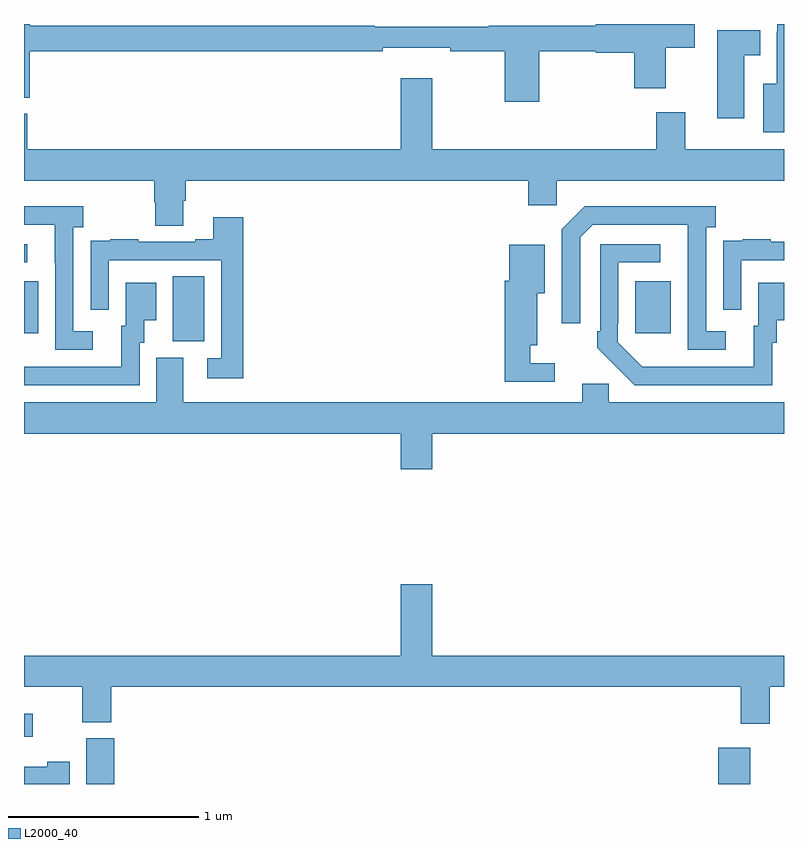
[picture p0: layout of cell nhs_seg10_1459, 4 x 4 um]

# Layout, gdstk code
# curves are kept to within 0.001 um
import gdstk
lib = gdstk.Library(unit=1e-6, precision=1e-09)
def R(c, l, rs):  # rectangles x0, y0, x1, y1
    for r in rs: c.add(gdstk.rectangle(r[:2], r[2:], *l))
def P(c, l, *ps):  # polygons
    for p in ps: c.add(gdstk.Polygon(p, *l))
L2000_40 = (2000, 40)

nhs_seg10_1459 = lib.new_cell('nhs_seg10_1459')
R(nhs_seg10_1459, L2000_40, [(187.328,1270.5,187.475,1270.74), (190.655,1270.5,190.822,1270.69), (187,1270.748,187.045,1270.87), (187.784,1272.829,187.948,1273.172), (187,1272.873,187.075,1273.147), (190.217,1272.873,190.405,1273.147), (187,1273.245,187.018,1273.341)])
P(nhs_seg10_1459, L2000_40, [(191,1274.5),(190.965,1274.5),(190.965,1274.459),(190.961,1274.459),(190.961,1274.185),(190.892,1274.185),(190.892,1273.931),(191,1273.931)],
  [(189.713,1274.356),(190.008,1274.356),(190.008,1274.348),(190.211,1274.348),(190.211,1274.163),(190.378,1274.163),(190.378,1274.374),(190.531,1274.374),(190.531,1274.5),(190.008,1274.5),(190.008,1274.492),(189.446,1274.492),(189.446,1274.485),(188.846,1274.485),(188.846,1274.492),(187.031,1274.492),(187.031,1274.5),(187,1274.5),(187,1274.113),(187.031,1274.113),(187.031,1274.356),(188.888,1274.356),(188.888,1274.375),(189.244,1274.375),(189.244,1274.356),(189.53,1274.356),(189.53,1274.091),(189.713,1274.091)],
  [(190.792,1274.336),(190.876,1274.336),(190.876,1274.467),(190.649,1274.467),(190.649,1274.004),(190.792,1274.004)],
  [(187.837,1273.57),(187.85,1273.57),(187.85,1273.676),(189.653,1273.676),(189.653,1273.545),(189.804,1273.545),(189.804,1273.676),(191,1273.676),(191,1273.84),(190.48,1273.84),(190.48,1274.035),(190.328,1274.035),(190.328,1273.84),(189.148,1273.84),(189.148,1274.215),(188.984,1274.215),(188.984,1273.84),(187.016,1273.84),(187.016,1274.028),(187,1274.028),(187,1273.676),(187.685,1273.676),(187.685,1273.563),(187.69,1273.563),(187.69,1273.438),(187.837,1273.438)],
  [(190.693,1272.882),(190.59,1272.882),(190.59,1273.43),(190.642,1273.43),(190.642,1273.54),(189.952,1273.54),(189.831,1273.419),(189.831,1272.924),(189.927,1272.924),(189.927,1273.377),(189.993,1273.443),(190.493,1273.443),(190.494,1272.786),(190.693,1272.786)],
  [(187.363,1272.882),(187.26,1272.882),(187.26,1273.43),(187.312,1273.43),(187.312,1273.54),(187,1273.54),(187,1273.443),(187.163,1273.443),(187.163,1273.243),(187.164,1273.243),(187.164,1272.786),(187.363,1272.786)],
  [(188.153,1273.483),(187.997,1273.483),(187.997,1273.366),(187.901,1273.366),(187.901,1273.353),(187.601,1273.353),(187.601,1273.366),(187.453,1273.366),(187.453,1273.359),(187.351,1273.359),(187.351,1273.25),(187.35,1273.25),(187.35,1272.996),(187.446,1272.996),(187.446,1273.257),(188.037,1273.257),(188.037,1272.741),(187.965,1272.741),(187.965,1272.636),(188.153,1272.636)],
  [(190.776,1273.257),(191,1273.257),(191,1273.353),(190.931,1273.353),(190.931,1273.366),(190.783,1273.366),(190.783,1273.359),(190.681,1273.359),(190.681,1273.25),(190.68,1273.25),(190.68,1272.996),(190.776,1272.996)],
  [(190.938,1272.822),(190.963,1272.822),(190.963,1272.941),(191,1272.941),(191,1273.138),(190.865,1273.138),(190.865,1272.912),(190.841,1272.912),(190.841,1272.696),(190.254,1272.697),(190.125,1272.825),(190.125,1272.925),(190.128,1272.925),(190.128,1273.245),(190.348,1273.245),(190.348,1273.341),(190.032,1273.341),(190.032,1272.883),(190.017,1272.883),(190.017,1272.795),(190.214,1272.6),(190.938,1272.6)],
  [(189.793,1272.714),(189.664,1272.714),(189.664,1272.809),(189.7,1272.809),(189.7,1273.082),(189.742,1273.082),(189.742,1273.339),(189.554,1273.339),(189.554,1273.149),(189.53,1273.149),(189.53,1272.618),(189.793,1272.618)],
  [(187.608,1272.822),(187.633,1272.822),(187.633,1272.941),(187.696,1272.941),(187.696,1273.138),(187.535,1273.138),(187.535,1272.912),(187.511,1272.912),(187.511,1272.696),(187.027,1272.696),(187.027,1272.697),(187,1272.697),(187,1272.6),(187.608,1272.6)],
  [(189.148,1272.344),(191,1272.344),(191,1272.508),(190.077,1272.508),(190.077,1272.606),(189.938,1272.606),(189.938,1272.508),(187.837,1272.508),(187.837,1272.744),(187.697,1272.744),(187.697,1272.508),(187,1272.508),(187,1272.344),(188.984,1272.344),(188.984,1272.156),(189.148,1272.156)],
  [(190.924,1271.012),(191,1271.012),(191,1271.176),(189.148,1271.176),(189.148,1271.551),(188.984,1271.551),(188.984,1271.176),(187,1271.176),(187,1271.012),(187.307,1271.012),(187.307,1270.825),(187.46,1270.825),(187.46,1271.012),(190.772,1271.012),(190.772,1270.818),(190.924,1270.818)],
  [(187.24,1270.618),(187.122,1270.618),(187.122,1270.591),(187,1270.591),(187,1270.5),(187.24,1270.5)])

lib.write_gds('nhs_seg10_1459.gds')
